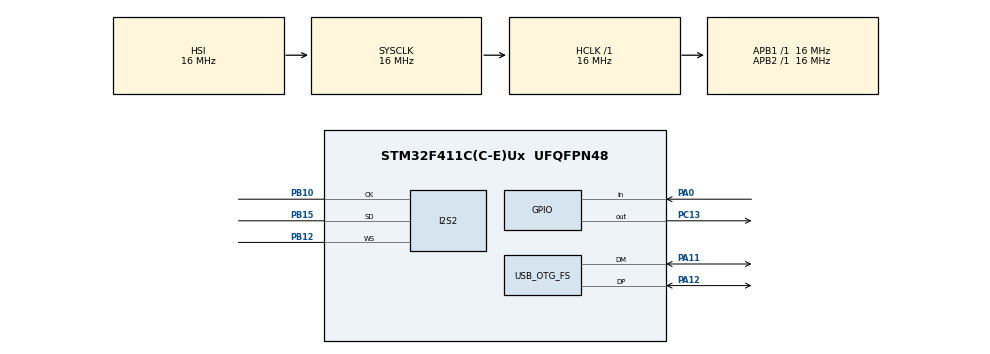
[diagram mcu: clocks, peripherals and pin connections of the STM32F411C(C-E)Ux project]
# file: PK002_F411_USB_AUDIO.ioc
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Dma.Request0=SPI2_TX
Dma.SPI2_TX.0.Direction=DMA_MEMORY_TO_PERIPH
Dma.SPI2_TX.0.FIFOMode=DMA_FIFOMODE_DISABLE
Dma.SPI2_TX.0.Instance=DMA1_Stream4
Dma.SPI2_TX.0.MemDataAlignment=DMA_MDATAALIGN_HALFWORD
Dma.SPI2_TX.0.MemInc=DMA_MINC_ENABLE
Dma.SPI2_TX.0.Mode=DMA_CIRCULAR
Dma.SPI2_TX.0.PeriphDataAlignment=DMA_PDATAALIGN_HALFWORD
Dma.SPI2_TX.0.PeriphInc=DMA_PINC_DISABLE
Dma.SPI2_TX.0.Priority=DMA_PRIORITY_HIGH
I2S2.AudioFreq=I2S_AUDIOFREQ_48K
I2S2.ErrorAudioFreq=0 %
I2S2.FullDuplexMode=I2S_FULLDUPLEXMODE_DISABLE
I2S2.Instance=SPI$Index
I2S2.RealAudioFreq=48 KHz
I2S2.VirtualMode=I2S_MODE_MASTER
Mcu.Family=STM32F4
Mcu.Name=STM32F411C(C-E)Ux
Mcu.Package=UFQFPN48
NVIC.DMA1_Stream4_IRQn=true\:0\:0\:false\:false\:true\:false\:true\:true
NVIC.OTG_FS_IRQn=true\:0\:0\:false\:false\:true\:false\:true\:true
NVIC.PriorityGroup=NVIC_PRIORITYGROUP_4
PA0-WKUP.GPIO_PuPd=GPIO_PULLUP
PA0-WKUP.Signal=GPIO_Input
PA11.Mode=Device_Only
PA11.Signal=USB_OTG_FS_DM
PA12.Mode=Device_Only
PA12.Signal=USB_OTG_FS_DP
PB10.Mode=Half_Duplex_Master
PB10.Signal=I2S2_CK
PB12.Mode=Half_Duplex_Master
PB12.Signal=I2S2_WS
PB15.Mode=Half_Duplex_Master
PB15.Signal=I2S2_SD
PC13-ANTI_TAMP.PinState=GPIO_PIN_RESET
PC13-ANTI_TAMP.Signal=GPIO_Output
PH0\ -\ OSC_IN.Mode=HSE-External-Oscillator
PH0\ -\ OSC_IN.Signal=RCC_OSC_IN
PH1\ -\ OSC_OUT.Mode=HSE-External-Oscillator
PH1\ -\ OSC_OUT.Signal=RCC_OSC_OUT
ProjectManager.HeapSize=0x200
ProjectManager.StackSize=0x400
ProjectManager.TargetToolchain=STM32CubeIDE
RCC.48MHZClocksFreq_Value=48046875
RCC.AHBFreq_Value=16000000
RCC.APB1Freq_Value=16000000
RCC.APB1TimFreq_Value=16000000
RCC.APB2Freq_Value=16000000
RCC.APB2TimFreq_Value=16000000
RCC.CortexFreq_Value=16000000
RCC.HCLKFreq_Value=16000000
RCC.HSE_VALUE=25000000
RCC.HSI_VALUE=16000000
RCC.LSE_VALUE=32768
RCC.PLLI2SM=25
RCC.PLLI2SN=384
RCC.PLLI2SR=5
RCC.PLLN=123
RCC.PLLSourceVirtual=RCC_PLLSOURCE_HSE
RCC.SYSCLKFreq_VALUE=16000000
RCC.VCOOutputFreq_Value=192187500
USB_DEVICE.CLASS_NAME_FS=AUDIO
USB_DEVICE.MANUFACTURER_STRING=Koc-Electronics
USB_DEVICE.USBD_AUDIO_FREQ=48000
USB_DEVICE.VirtualMode=Audio
USB_DEVICE.VirtualModeFS=Audio_FS
USB_OTG_FS.VirtualMode=Device_Only
VP_USB_DEVICE_VS_USB_DEVICE_AUDIO_FS.Mode=AUDIO_FS
board=custom

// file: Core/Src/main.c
/* USER CODE BEGIN Header */
/**
  ******************************************************************************
  * @file           : main.c
  * @brief          : Main program body
  ******************************************************************************
  * @attention
  *
  * Copyright (c) 2026 STMicroelectronics.
  * All rights reserved.
  *
  * This software is licensed under terms that can be found in the LICENSE file
  * in the root directory of this software component.
  * If no LICENSE file comes with this software, it is provided AS-IS.
  *
  ******************************************************************************
  */
/* USER CODE END Header */
#include "main.h"
#include "usb_device.h"

/* USER CODE BEGIN Includes */
#include <math.h>
#include <stdint.h>
#include <stddef.h>
#include "usbd_audio_if.h"

/* USER CODE END Includes */

I2S_HandleTypeDef hi2s2;
DMA_HandleTypeDef hdma_spi2_tx;

/* USER CODE BEGIN PV */
/* USB Audio -> I2S bridge: 48 kHz, stereo, signed 16-bit PCM. */
#define USB_AUDIO_I2S_FRAMES       1920U
#define USB_AUDIO_I2S_SAMPLES      (USB_AUDIO_I2S_FRAMES * 2U)
#define USB_AUDIO_RING_FRAMES      8192U

/* Circular DMA consumes 40 ms of stereo audio; each half is 20 ms. */
__ALIGN_BEGIN static uint16_t i2s_dma_buffer[USB_AUDIO_I2S_SAMPLES] __ALIGN_END;
/* SPSC ring: USB callback writes, I2S DMA callback reads. */
static uint16_t audio_ring[USB_AUDIO_RING_FRAMES * 2U];
static volatile uint32_t audio_ring_write = 0U;
static volatile uint32_t audio_ring_read = 0U;
static volatile uint32_t audio_ring_overruns = 0U;
static volatile uint32_t audio_ring_underruns = 0U;
static volatile uint32_t audio_i2s_started = 0U;

#define DEBOUNCE_MS 20U
uint8_t button_state = 1;
uint8_t button_event = 0;

uint8_t last_reading = 1;
uint32_t last_change_time = 0;

/* USER CODE END PV */

void SystemClock_Config(void);
static void MX_GPIO_Init(void);
static void MX_DMA_Init(void);
static void MX_I2S2_Init(void);
/* USER CODE BEGIN PFP */
void PK002_Audio_PushUsbPacket(const uint8_t *data, uint32_t size);
void PK002_Audio_Start(void);
void PK002_Audio_DmaHalfCallback(void);
void PK002_Audio_DmaFullCallback(void);

/* USER CODE END PFP */

/* USER CODE BEGIN 0 */

/*
 * Called from the USB isochronous OUT callback.
 * USB Audio samples are little-endian interleaved L/R signed 16-bit PCM.
 * Copy complete stereo frames to our own ring before the middleware reuses
 * its USB receive buffer for the next packet.
 */
void PK002_Audio_PushUsbPacket(const uint8_t *data, uint32_t size)
{
    if ((data == NULL) || (size < 4U))
        return;

    size &= ~3UL; /* Only complete L+R frames (4 bytes) are processed. */

    for (uint32_t i = 0U; i < size; i += 4U)
    {
        uint32_t next = (audio_ring_write + 1U) % USB_AUDIO_RING_FRAMES;

        if (next == audio_ring_read)
        {
            audio_ring_overruns++;
            continue; /* Drop newest frame; never overwrite unread samples. */
        }

        audio_ring[2U * audio_ring_write] =
            (uint16_t)((uint16_t)data[i] | ((uint16_t)data[i + 1U] << 8));
        audio_ring[2U * audio_ring_write + 1U] =
            (uint16_t)((uint16_t)data[i + 2U] | ((uint16_t)data[i + 3U] << 8));

        audio_ring_write = next;
    }
}

/*
 * ST's USB middleware calls AUDIO_CMD_START after receiving the initial USB
 * buffer. Thus samples are already queued before the I2S output clock starts.
 */
void PK002_Audio_Start(void)
{
    if (audio_i2s_started != 0U)
        return;

    for (uint32_t i = 0U; i < USB_AUDIO_I2S_SAMPLES; i++)
        i2s_dma_buffer[i] = 0U;

    /* Do not reset the ring here: USB packets were queued before START. */
    if (HAL_I2S_Transmit_DMA(&hi2s2, i2s_dma_buffer,
                             USB_AUDIO_I2S_SAMPLES) == HAL_OK)
    {
        audio_i2s_started = 1U;
    }
    else
    {
        Error_Handler();
    }
}

/*
 * Refill only the half DMA has finished transmitting.
 * I2S PLL is configured for 48 kHz, so input and output frames are copied 1:1.
 * Keep this DMA interrupt callback lightweight to avoid delaying USB service.
 */
static void PK002_Audio_FillHalf(uint32_t first_sample)
{
    const uint32_t frames = USB_AUDIO_I2S_FRAMES / 2U;

    for (uint32_t f = 0U; f < frames; f++)
    {
        const uint32_t dst = first_sample + (2U * f);
        const uint32_t read = audio_ring_read;
        const uint32_t write = audio_ring_write;

        if (read != write)
        {
            i2s_dma_buffer[dst] = audio_ring[2U * read];
            i2s_dma_buffer[dst + 1U] = audio_ring[2U * read + 1U];
            audio_ring_read = (read + 1U) % USB_AUDIO_RING_FRAMES;
        }
        else
        {
            /* Output silence on underrun instead of replaying stale samples. */
            i2s_dma_buffer[dst] = 0U;
            i2s_dma_buffer[dst + 1U] = 0U;
            audio_ring_underruns++;
        }
    }
}

void PK002_Audio_DmaHalfCallback(void)
{
    if (audio_i2s_started != 0U)
        PK002_Audio_FillHalf(0U);
}

void PK002_Audio_DmaFullCallback(void)
{
    if (audio_i2s_started != 0U)
        PK002_Audio_FillHalf(USB_AUDIO_I2S_SAMPLES / 2U);
}

void Button_Update(void)
{
    uint8_t reading =
        HAL_GPIO_ReadPin(GPIOA, GPIO_PIN_0);

    if (reading != last_reading)
    {
        last_change_time = HAL_GetTick();
        last_reading = reading;
    }

    if ((HAL_GetTick() - last_change_time) >= DEBOUNCE_MS)
    {
        if (button_state != reading)
        {
            button_state = reading;

            // Zdarzenie tylko przy wciśnięciu
            if (button_state == GPIO_PIN_RESET)
            {
                button_event = 1;
            }
        }
    }
}
/* USER CODE END 0 */

int main(void)
{

  /* MCU Configuration--------------------------------------------------------*/

  /* Reset of all peripherals, Initializes the Flash interface and the Systick. */
  HAL_Init();

  /* Configure the system clock */
  SystemClock_Config();

  /* Initialize all configured peripherals */
  MX_GPIO_Init();
  MX_DMA_Init();
  MX_I2S2_Init();
  MX_USB_DEVICE_Init();

  /* Infinite loop */
  while (1)
  {

  }
}

void SystemClock_Config(void)
{
  RCC_OscInitTypeDef RCC_OscInitStruct = {0};
  RCC_ClkInitTypeDef RCC_ClkInitStruct = {0};

  /** Configure the main internal regulator output voltage
  */
  __HAL_RCC_PWR_CLK_ENABLE();
  __HAL_PWR_VOLTAGESCALING_CONFIG(PWR_REGULATOR_VOLTAGE_SCALE1);

  /** Initializes the RCC Oscillators according to the specified parameters
  * in the RCC_OscInitTypeDef structure.
  */
  RCC_OscInitStruct.OscillatorType = RCC_OSCILLATORTYPE_HSI|RCC_OSCILLATORTYPE_HSE;
  RCC_OscInitStruct.HSEState = RCC_HSE_ON;
  RCC_OscInitStruct.HSIState = RCC_HSI_ON;
  RCC_OscInitStruct.HSICalibrationValue = RCC_HSICALIBRATION_DEFAULT;
  RCC_OscInitStruct.PLL.PLLState = RCC_PLL_ON;
  RCC_OscInitStruct.PLL.PLLSource = RCC_PLLSOURCE_HSE;
  RCC_OscInitStruct.PLL.PLLM = 16;
  RCC_OscInitStruct.PLL.PLLN = 123;
  RCC_OscInitStruct.PLL.PLLP = RCC_PLLP_DIV2;
  RCC_OscInitStruct.PLL.PLLQ = 4;
  if (HAL_RCC_OscConfig(&RCC_OscInitStruct) != HAL_OK)
  {
    Error_Handler();
  }

  /** Initializes the CPU, AHB and APB buses clocks
  */
  RCC_ClkInitStruct.ClockType = RCC_CLOCKTYPE_HCLK|RCC_CLOCKTYPE_SYSCLK
                              |RCC_CLOCKTYPE_PCLK1|RCC_CLOCKTYPE_PCLK2;
  RCC_ClkInitStruct.SYSCLKSource = RCC_SYSCLKSOURCE_HSI;
  RCC_ClkInitStruct.AHBCLKDivider = RCC_SYSCLK_DIV1;
  RCC_ClkInitStruct.APB1CLKDivider = RCC_HCLK_DIV1;
  RCC_ClkInitStruct.APB2CLKDivider = RCC_HCLK_DIV1;

  if (HAL_RCC_ClockConfig(&RCC_ClkInitStruct, FLASH_LATENCY_0) != HAL_OK)
  {
    Error_Handler();
  }
}

static void MX_I2S2_Init(void)
{

  hi2s2.Instance = SPI2;
  hi2s2.Init.Mode = I2S_MODE_MASTER_TX;
  hi2s2.Init.Standard = I2S_STANDARD_PHILIPS;
  hi2s2.Init.DataFormat = I2S_DATAFORMAT_16B;
  hi2s2.Init.MCLKOutput = I2S_MCLKOUTPUT_DISABLE;
  hi2s2.Init.AudioFreq = I2S_AUDIOFREQ_48K;
  hi2s2.Init.CPOL = I2S_CPOL_LOW;
  hi2s2.Init.ClockSource = I2S_CLOCK_PLL;
  hi2s2.Init.FullDuplexMode = I2S_FULLDUPLEXMODE_DISABLE;
  if (HAL_I2S_Init(&hi2s2) != HAL_OK)
  {
    Error_Handler();
  }

}

static void MX_DMA_Init(void)
{

  /* DMA controller clock enable */
  __HAL_RCC_DMA1_CLK_ENABLE();

  /* DMA interrupt init */
  /* DMA1_Stream4_IRQn interrupt configuration */
  HAL_NVIC_SetPriority(DMA1_Stream4_IRQn, 0, 0);
  HAL_NVIC_EnableIRQ(DMA1_Stream4_IRQn);

}

static void MX_GPIO_Init(void)
{
  GPIO_InitTypeDef GPIO_InitStruct = {0};

  /* GPIO Ports Clock Enable */
  __HAL_RCC_GPIOC_CLK_ENABLE();
  __HAL_RCC_GPIOH_CLK_ENABLE();
  __HAL_RCC_GPIOA_CLK_ENABLE();
  __HAL_RCC_GPIOB_CLK_ENABLE();

  /*Configure GPIO pin Output Level */
  HAL_GPIO_WritePin(GPIOC, GPIO_PIN_13, GPIO_PIN_RESET);

  /*Configure GPIO pin : PC13 */
  GPIO_InitStruct.Pin = GPIO_PIN_13;
  GPIO_InitStruct.Mode = GPIO_MODE_OUTPUT_PP;
  GPIO_InitStruct.Pull = GPIO_NOPULL;
  GPIO_InitStruct.Speed = GPIO_SPEED_FREQ_LOW;
  HAL_GPIO_Init(GPIOC, &GPIO_InitStruct);

  /*Configure GPIO pin : PA0 */
  GPIO_InitStruct.Pin = GPIO_PIN_0;
  GPIO_InitStruct.Mode = GPIO_MODE_INPUT;
  GPIO_InitStruct.Pull = GPIO_PULLUP;
  HAL_GPIO_Init(GPIOA, &GPIO_InitStruct);

}

void Error_Handler(void)
{
  __disable_irq();
  while (1)
  {
  }
}
